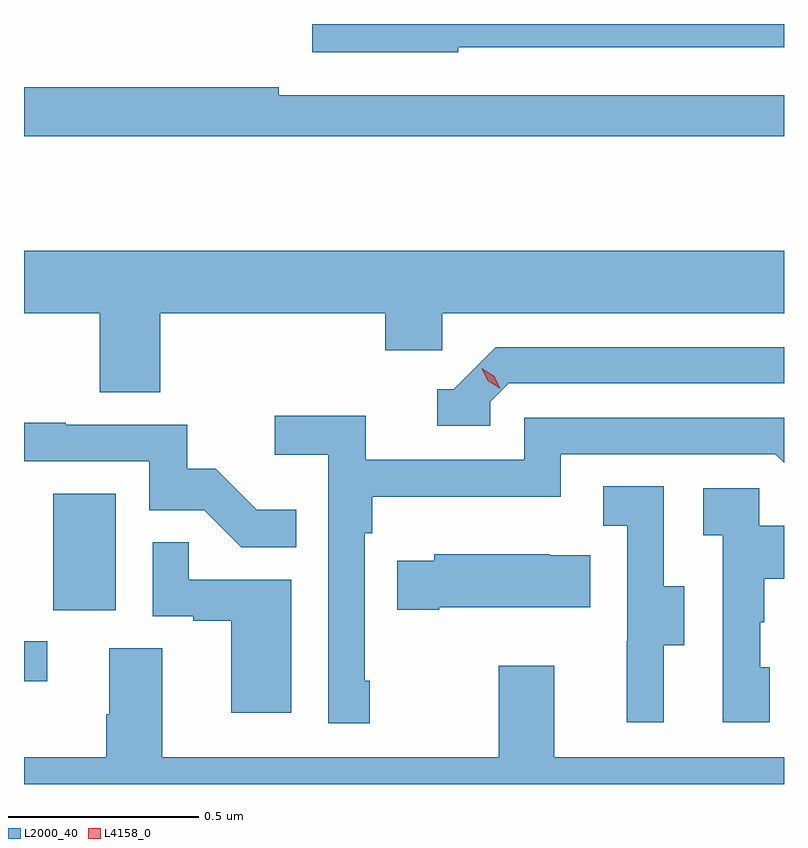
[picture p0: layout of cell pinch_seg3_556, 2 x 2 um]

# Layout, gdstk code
import gdstk
lib = gdstk.Library(unit=1e-6, precision=1e-09)
def R(c, l, rs):  # rectangles x0, y0, x1, y1
    for r in rs: c.add(gdstk.rectangle(r[:2], r[2:], *l))
def P(c, l, *ps):  # polygons
    for p in ps: c.add(gdstk.Polygon(p, *l))
L2000_40 = (2000, 40)
L4158_0 = (4158, 0)

pinch_seg3_556 = lib.new_cell('pinch_seg3_556')
R(pinch_seg3_556, L2000_40, [(1118.067,691.956,1118.128,692.061), (1118.144,692.142,1118.308,692.449)])
P(pinch_seg3_556, L2000_40, [(1119.21,693.624),(1120.067,693.624),(1120.067,693.685),(1118.826,693.685),(1118.826,693.611),(1119.21,693.611)],
  [(1120.067,693.498),(1118.738,693.498),(1118.738,693.518),(1118.067,693.518),(1118.067,693.39),(1120.067,693.39)],
  [(1118.426,692.924),(1119.017,692.924),(1119.017,692.826),(1119.168,692.826),(1119.168,692.924),(1120.067,692.924),(1120.067,693.088),(1118.067,693.088),(1118.067,692.924),(1118.266,692.924),(1118.266,692.716),(1118.426,692.716)],
  [(1119.294,692.691),(1119.342,692.739),(1120.067,692.739),(1120.067,692.835),(1119.309,692.835),(1119.198,692.724),(1119.155,692.724),(1119.155,692.628),(1119.294,692.628)],
  [(1118.977,691.957),(1118.964,691.957),(1118.964,692.345),(1118.984,692.345),(1118.984,692.441),(1119.48,692.441),(1119.48,692.553),(1120.044,692.553),(1120.067,692.53),(1120.067,692.649),(1119.384,692.649),(1119.384,692.538),(1118.966,692.538),(1118.966,692.654),(1118.727,692.654),(1118.727,692.552),(1118.868,692.552),(1118.868,691.845),(1118.977,691.845)],
  [(1118.783,692.407),(1118.679,692.407),(1118.572,692.514),(1118.496,692.514),(1118.496,692.631),(1118.177,692.631),(1118.177,692.636),(1118.067,692.636),(1118.067,692.535),(1118.397,692.535),(1118.397,692.406),(1118.541,692.406),(1118.639,692.308),(1118.783,692.308)],
  [(1119.751,692.05),(1119.805,692.05),(1119.805,692.205),(1119.75,692.205),(1119.75,692.468),(1119.591,692.468),(1119.591,692.365),(1119.654,692.365),(1119.654,692.061),(1119.653,692.061),(1119.653,691.848),(1119.751,691.848)],
  [(1120.03,691.992),(1120.005,691.992),(1120.005,692.111),(1120.015,692.111),(1120.015,692.225),(1120.067,692.225),(1120.067,692.365),(1120.002,692.365),(1120.002,692.463),(1119.855,692.463),(1119.855,692.339),(1119.906,692.339),(1119.906,691.848),(1120.03,691.848)],
  [(1118.77,692.223),(1118.501,692.223),(1118.501,692.321),(1118.406,692.321),(1118.406,692.127),(1118.513,692.127),(1118.513,692.115),(1118.612,692.115),(1118.612,691.872),(1118.77,691.872)],
  [(1119.16,692.15),(1119.557,692.15),(1119.557,692.287),(1119.449,692.287),(1119.449,692.29),(1119.147,692.29),(1119.147,692.272),(1119.049,692.272),(1119.049,692.143),(1119.16,692.143)],
  [(1120.067,691.756),(1119.463,691.756),(1119.463,691.996),(1119.316,691.996),(1119.316,691.756),(1118.431,691.756),(1118.431,692.042),(1118.291,692.042),(1118.291,691.868),(1118.284,691.868),(1118.284,691.756),(1118.067,691.756),(1118.067,691.685),(1120.067,691.685)])
P(pinch_seg3_556, L4158_0, [(1119.319,692.726),(1119.288,692.746),(1119.272,692.778),(1119.272,692.779),(1119.272,692.779),(1119.303,692.759),(1119.32,692.726),(1119.32,692.726)])

lib.write_gds('pinch_seg3_556.gds')
